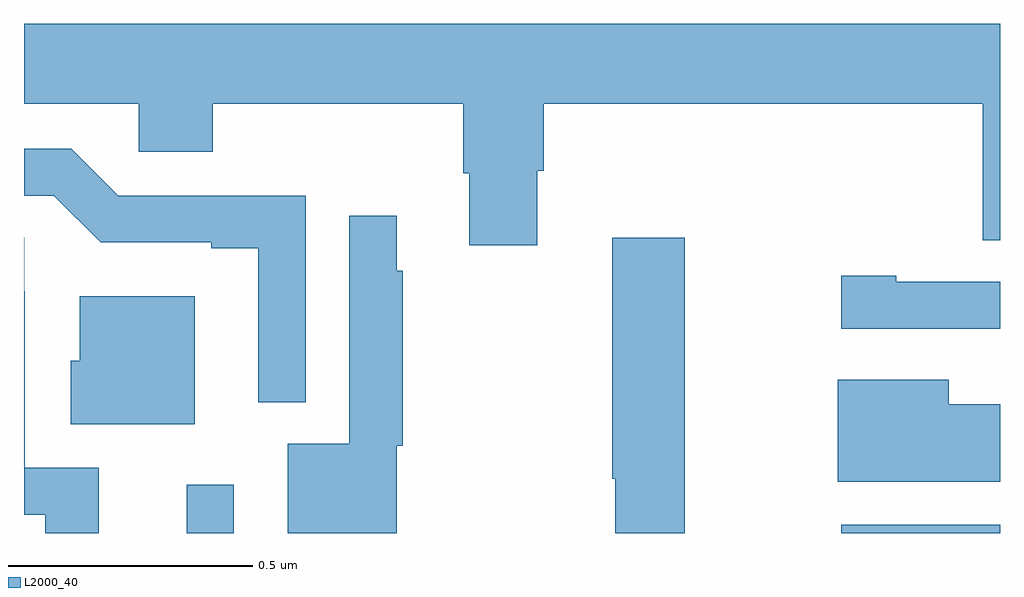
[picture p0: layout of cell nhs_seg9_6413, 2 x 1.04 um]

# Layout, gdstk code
import gdstk
lib = gdstk.Library(unit=1e-6, precision=1e-09)
def R(c, l, rs):  # rectangles x0, y0, x1, y1
    for r in rs: c.add(gdstk.rectangle(r[:2], r[2:], *l))
def P(c, l, *ps):  # polygons
    for p in ps: c.add(gdstk.Polygon(p, *l))
L2000_40 = (2000, 40)

nhs_seg9_6413 = lib.new_cell('nhs_seg9_6413')
R(nhs_seg9_6413, L2000_40, [(191.333,1235.5,191.43,1235.599), (192.675,1235.5,193,1235.517)])
P(nhs_seg9_6413, L2000_40, [(192.052,1236.243),(192.065,1236.243),(192.065,1236.38),(192.965,1236.38),(192.965,1236.1),(193,1236.1),(193,1236.544),(191,1236.544),(191,1236.38),(191.235,1236.38),(191.235,1236.282),(191.387,1236.282),(191.387,1236.38),(191.9,1236.38),(191.9,1236.238),(191.912,1236.238),(191.912,1236.09),(192.052,1236.09)],
  [(191.577,1236.192),(191.193,1236.192),(191.097,1236.288),(191,1236.288),(191,1236.192),(191.061,1236.192),(191.157,1236.096),(191.384,1236.096),(191.384,1236.084),(191.48,1236.084),(191.48,1235.768),(191.577,1235.768)],
  [(191.764,1235.679),(191.776,1235.679),(191.776,1236.038),(191.764,1236.038),(191.764,1236.151),(191.667,1236.151),(191.667,1235.683),(191.54,1235.683),(191.54,1235.5),(191.764,1235.5)],
  [(191.153,1235.634),(191.002,1235.634),(191.002,1235.996),(191.001,1235.996),(191.001,1236.107),(191,1236.107),(191,1235.538),(191.044,1235.538),(191.044,1235.5),(191.153,1235.5)],
  [(192.354,1236.106),(192.205,1236.106),(192.205,1235.612),(192.212,1235.612),(192.212,1235.5),(192.354,1235.5)],
  [(193,1236.015),(192.787,1236.015),(192.787,1236.028),(192.675,1236.028),(192.675,1235.919),(193,1235.919)],
  [(191.35,1235.986),(191.114,1235.986),(191.114,1235.853),(191.096,1235.853),(191.096,1235.723),(191.35,1235.723)],
  [(193,1235.764),(192.895,1235.764),(192.895,1235.815),(192.668,1235.815),(192.668,1235.606),(193,1235.606)])

lib.write_gds('nhs_seg9_6413.gds')
